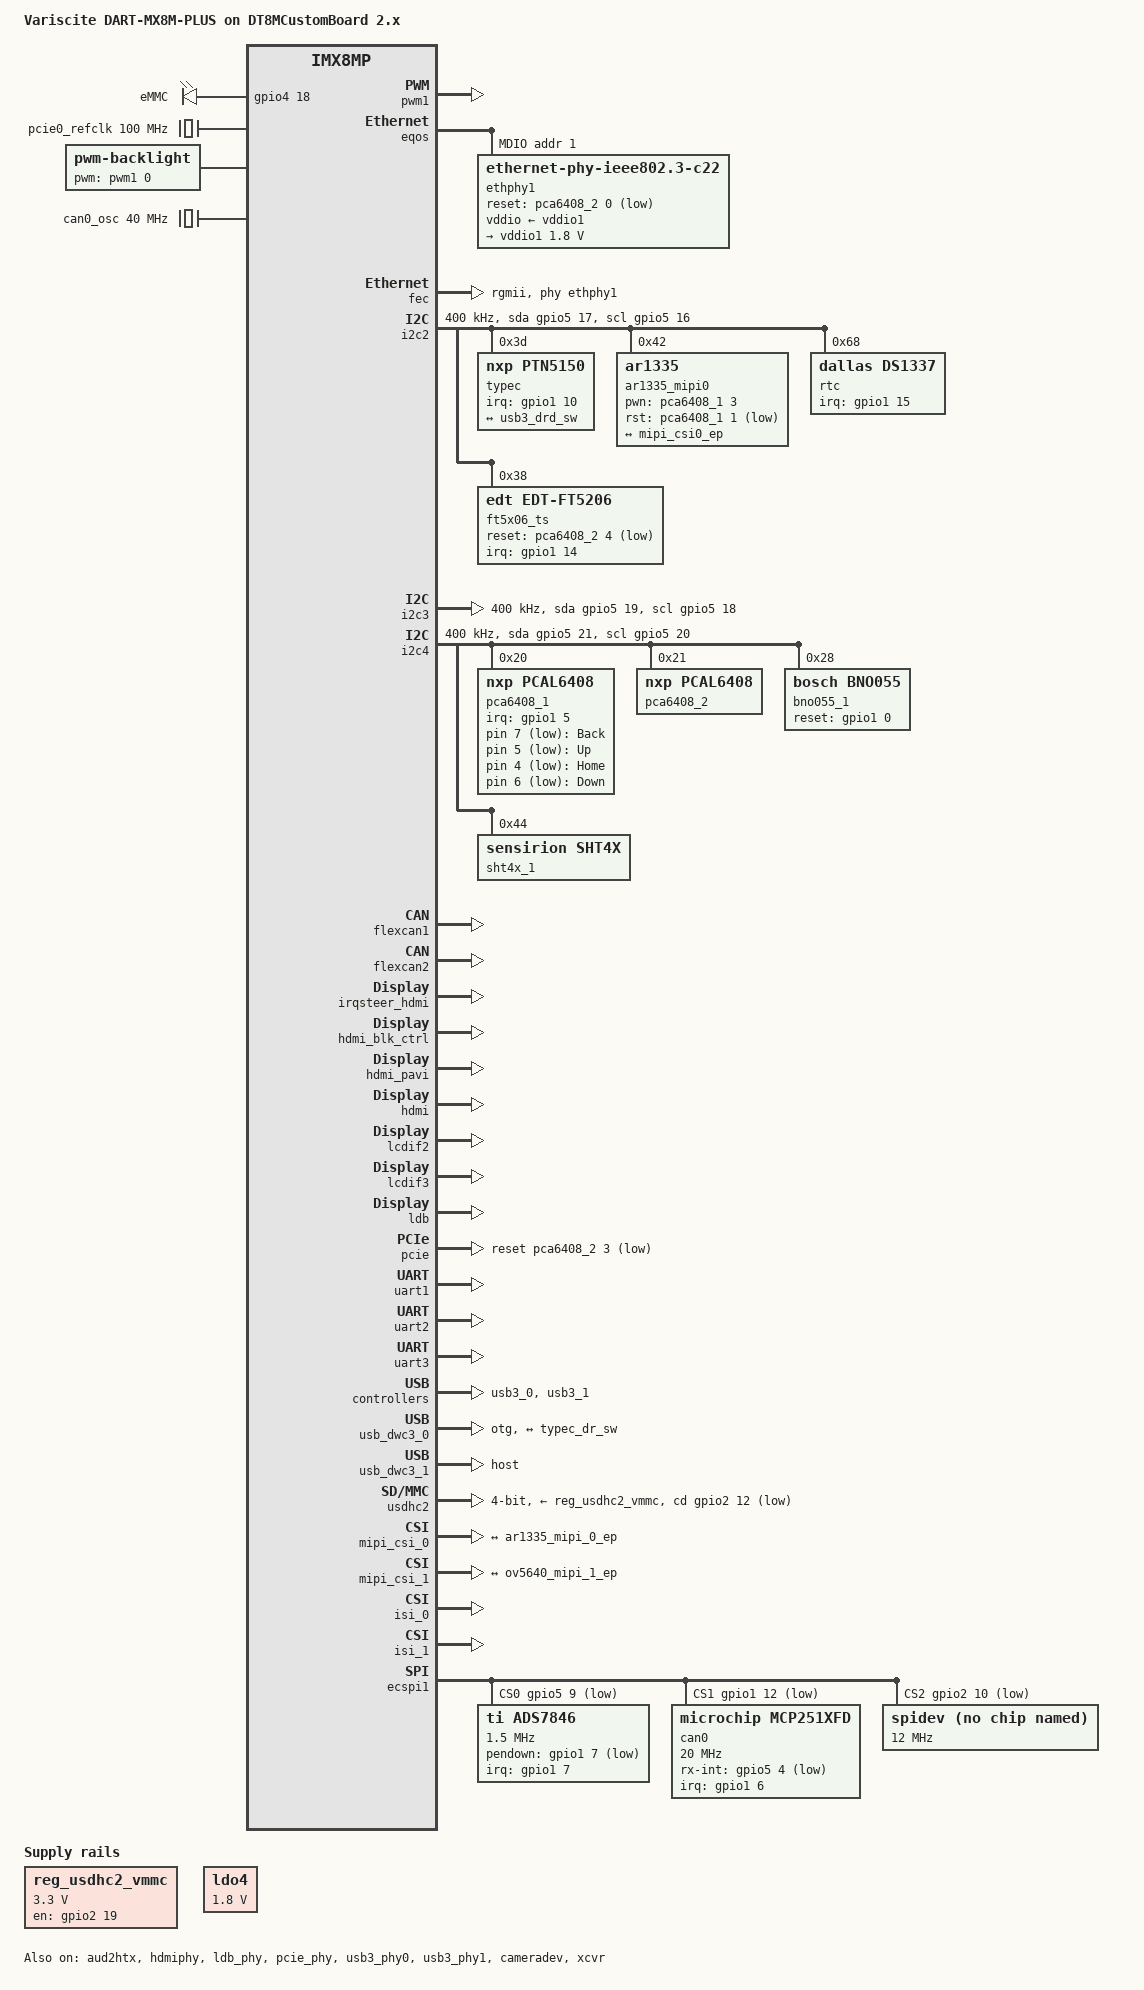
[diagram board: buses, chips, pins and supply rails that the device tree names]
// SPDX-License-Identifier: (GPL-2.0+ OR MIT)
/*
 * Copyright 2019 NXP
 * Copyright 2020-2023 Variscite Ltd.
 */

#include "imx8mp-var-dart.dtsi"

/ {
	model = "Variscite DART-MX8M-PLUS on DT8MCustomBoard 2.x";

	chosen {
		stdout-path = &uart1;
	};

	gpio-keys {
		compatible = "gpio-keys";
		status = "okay";

		back {
			label = "Back";
			linux,code = <KEY_BACK>;
			gpios = <&pca6408_1 7 GPIO_ACTIVE_LOW>;
			wakeup-source;
		};

		up {
			label = "Up";
			linux,code = <KEY_UP>;
			gpios = <&pca6408_1 5 GPIO_ACTIVE_LOW>;
			wakeup-source;
		};

		home {
			label = "Home";
			linux,code = <KEY_HOME>;
			gpios = <&pca6408_1 4 GPIO_ACTIVE_LOW>;
			wakeup-source;
		};

		down {
			label = "Down";
			linux,code = <KEY_DOWN>;
			gpios = <&pca6408_1 6 GPIO_ACTIVE_LOW>;
			wakeup-source;
		};
	};

	gpio-leds {
		compatible = "gpio-leds";
		pinctrl-names = "default";
		pinctrl-0 = <&pinctrl_gpio_leds>;
		status = "okay";

		emmc {
			label = "eMMC";
			gpios = <&gpio4 18 GPIO_ACTIVE_HIGH>;
			linux,default-trigger = "mmc2";
		};
	};

	pcie0_refclk: pcie0-refclk {
		compatible = "fixed-clock";
		#clock-cells = <0>;
		clock-frequency = <100000000>;
	};

	reg_usdhc2_vmmc: regulator-usdhc2-vmmc {
		compatible = "regulator-fixed";
		regulator-name = "VSD_3V3";
		regulator-min-microvolt = <3300000>;
		regulator-max-microvolt = <3300000>;
		gpio = <&gpio2 19 GPIO_ACTIVE_HIGH>;
		enable-active-high;
		startup-delay-us = <100>;
		off-on-delay-us = <12000>;
	};

	backlight: backlight {
		compatible = "pwm-backlight";
		pwms = <&pwm1 0 1000000 0>;
		status = "okay";

		brightness-levels = < 0  1  2  3  4  5  6  7  8  9
				     10 11 12 13 14 15 16 17 18 19
				     20 21 22 23 24 25 26 27 28 29
				     30 31 32 33 34 35 36 37 38 39
				     40 41 42 43 44 45 46 47 48 49
				     50 51 52 53 54 55 56 57 58 59
				     60 61 62 63 64 65 66 67 68 69
				     70 71 72 73 74 75 76 77 78 79
				     80 81 82 83 84 85 86 87 88 89
				     90 91 92 93 94 95 96 97 98 99
				    100>;
		default-brightness-level = <80>;
	};

	panel {
		compatible = "sgd,gktw70sdae4se", "panel-lvds";
		backlight = <&backlight>;
		width-mm = <153>;
		height-mm = <87>;
		label = "gktw70sdae4se";
		data-mapping = "jeida-24";
		status = "disabled";

		panel-timing {
			clock-frequency = <33000000>;
			hactive = <800>;
			vactive = <480>;
			hback-porch = <40>;
			hfront-porch = <40>;
			vback-porch = <29>;
			vfront-porch = <13>;
			hsync-len = <48>;
			vsync-len = <3>;
			hsync-active = <0>;
			vsync-active = <0>;
			de-active = <1>;
		};

		port {
			panel_in: endpoint {
				remote-endpoint = <&lvds_out>;
			};
		};
	};

	can0_osc: can0_osc {
		compatible = "fixed-clock";
		#clock-cells = <0>;
		clock-frequency = <40000000>;
	};

	sound_hdmi: sound_hdmi {
		compatible = "fsl,imx-audio-hdmi";
		model = "audio-hdmi";
		audio-cpu = <&aud2htx>;
		hdmi-out;
		constraint-rate = <44100>,
				<88200>,
				<176400>,
				<32000>,
				<48000>,
				<96000>,
				<192000>;
		status = "okay";
	};

	sound-xcvr {
		compatible = "fsl,imx-audio-card";
		model = "imx-audio-xcvr";
		pri-dai-link {
			link-name = "XCVR PCM";
			cpu {
				sound-dai = <&xcvr>;
			};
		};
	};
};

&aud2htx {
	status = "okay";
};

&pwm1 {
	pinctrl-names = "default";
	pinctrl-0 = <&pinctrl_pwm1>;
	status = "okay";
};

&eqos {
	mdio {
		ethphy1: ethernet-phy@1 {
			compatible = "ethernet-phy-ieee802.3-c22";
			reg = <1>;
			at803x,eee-disabled;
			eee-broken-1000t;
			reset-gpios = <&pca6408_2 0 GPIO_ACTIVE_LOW>;
			reset-assert-us = <10000>;
			reset-deassert-us = <20000>;
			vddio-supply = <&vddio1>;

			vddio1: vddio-regulator {
				regulator-min-microvolt = <1800000>;
				regulator-max-microvolt = <1800000>;
			};
		};
	};
};

&fec {
	pinctrl-names = "default";
	pinctrl-0 = <&pinctrl_fec>;
	phy-mode = "rgmii";
	phy-handle = <&ethphy1>;
	status = "okay";
};

&flexspi {
	pinctrl-names = "default";
	pinctrl-0 = <&pinctrl_flexspi0>;
	status = "disabled";
};

&i2c2 {
	clock-frequency = <400000>;
	pinctrl-names = "default", "gpio";
	pinctrl-0 = <&pinctrl_i2c2>;
	pinctrl-1 = <&pinctrl_i2c2_gpio>;
	scl-gpios = <&gpio5 16 GPIO_ACTIVE_HIGH>;
	sda-gpios = <&gpio5 17 GPIO_ACTIVE_HIGH>;
	status = "okay";

	typec@3d {
		compatible = "nxp,ptn5150";
		pinctrl-names = "default";
		pinctrl-0 = <&pinctrl_extcon>;
		reg = <0x3d>;
		interrupt-parent = <&gpio1>;
		interrupts = <10 IRQ_TYPE_LEVEL_HIGH>;
		irq-is-id-quirk;
		status ="okay";

		port {
			typec_dr_sw: endpoint {
				remote-endpoint = <&usb3_drd_sw>;
			};
		};
	};

	ar1335_mipi0: ar1335_mipi@42 {
		compatible = "ar1335";
		reg = <0x42>;
		clocks = <&clk IMX8MP_CLK_IPP_DO_CLKO2>;
		clock-names = "xclk";
/* Disabled CLKO2, since DART-MX8MP camera expansion board uses
 * its own oscillator. Enable CLK02 if your desing requres it
 */
#if 0
		assigned-clocks = <&clk IMX8MP_CLK_IPP_DO_CLKO2>;
		assigned-clock-parents = <&clk IMX8MP_CLK_24M>;
#endif
		assigned-clock-rates = <24000000>;
		csi_id = <0>;
		pwn-gpios = <&pca6408_1 3 GPIO_ACTIVE_HIGH>;
		rst-gpios = <&pca6408_1 1 GPIO_ACTIVE_LOW>;
		mclk = <24000000>;
		mclk_source = <0>;
		mipi_csi;
		status = "okay";

		port {
			ar1335_mipi_0_ep: endpoint {
				remote-endpoint = <&mipi_csi0_ep>;
				data-lanes = <1 2 3 4>;
				clock-lanes = <0>;
			};
		};
	};

	/* DS1337 RTC module */
	rtc@68 {
		compatible = "dallas,ds1337";
		reg = <0x68>;
		pinctrl-names = "default";
		pinctrl-0 = <&pinctrl_rtc>;
		interrupt-parent = <&gpio1>;
		interrupts = <15 IRQ_TYPE_EDGE_FALLING>;
		wakeup-source;
		status = "okay";
	};

	/* Capacitive touch controller */
	ft5x06_ts: ft5x06_ts@38 {
		compatible = "edt,edt-ft5206";
		reg = <0x38>;
		pinctrl-names = "default";
		pinctrl-0 = <&pinctrl_captouch>;
		reset-gpios = <&pca6408_2 4 GPIO_ACTIVE_LOW>;
		interrupt-parent = <&gpio1>;
		interrupts = <14 IRQ_TYPE_EDGE_FALLING>;
		touchscreen-size-x = <800>;
		touchscreen-size-y = <480>;
		touchscreen-inverted-x;
		touchscreen-inverted-y;
		wakeup-source;
		status = "okay";
	};
};

&i2c3 {
	clock-frequency = <400000>;
	pinctrl-names = "default", "gpio";
	pinctrl-0 = <&pinctrl_i2c3>;
	pinctrl-1 = <&pinctrl_i2c3_gpio>;
	scl-gpios = <&gpio5 18 GPIO_ACTIVE_HIGH>;
	sda-gpios = <&gpio5 19 GPIO_ACTIVE_HIGH>;
	status = "okay";
};

&i2c4 {
	clock-frequency = <400000>;
	pinctrl-names = "default", "gpio";
	pinctrl-0 = <&pinctrl_i2c4>;
	pinctrl-1 = <&pinctrl_i2c4_gpio>;
	scl-gpios = <&gpio5 20 GPIO_ACTIVE_HIGH>;
	sda-gpios = <&gpio5 21 GPIO_ACTIVE_HIGH>;
	status = "okay";

	ov5640_mipi1: ov5640_mipi@3c {
		compatible = "ovti,ov5640";
		reg = <0x3c>;
		clocks = <&clk IMX8MP_CLK_IPP_DO_CLKO2>;
		clock-names = "xclk";
/* Disabled CLKO2, since DART-MX8MP camera expansion board uses
 * its own oscillator. Enable CLK02 if your desing requres it
 */
#if 0
		assigned-clocks = <&clk IMX8MP_CLK_IPP_DO_CLKO2>;
		assigned-clock-parents = <&clk IMX8MP_CLK_24M>;
#endif
		assigned-clock-rates = <24000000>;
		csi_id = <1>;
		powerdown-gpios = <&pca6408_1 2 GPIO_ACTIVE_HIGH>;
		reset-gpios = <&pca6408_1 0 GPIO_ACTIVE_LOW>;
		mclk = <24000000>;
		mclk_source = <0>;
		mipi_csi;
		status = "disabled";

		port {
			ov5640_mipi_1_ep: endpoint {
				remote-endpoint = <&mipi_csi1_ep>;
				data-lanes = <1 2>;
				clock-lanes = <0>;
			};
		};
	};

	pca6408_1: gpio@20 {
		compatible = "nxp,pcal6408";
		standard-regs-fallback;
		reg = <0x20>;
		gpio-controller;
		#gpio-cells = <2>;
		pinctrl-names = "default";
		pinctrl-0 = <&pinctrl_pca6408>;
		interrupt-parent = <&gpio1>;
		interrupts = <5 IRQ_TYPE_EDGE_FALLING>;
	};

	pca6408_2: gpio@21 {
		compatible = "nxp,pcal6408";
		standard-regs-fallback;
		reg = <0x21>;
		gpio-controller;
		#gpio-cells = <2>;
	};

	bno055_1: bno055_i2c@28 {
        compatible = "bosch,bno055";
        reg = <0x28>;
		pinctrl-names = "default";
		pinctrl-0 = <&pinctrl_imu>;
		reset-gpios = <&gpio1 0 GPIO_ACTIVE_HIGH>;
    };
	
	sht4x_1: sht4x@44 {
		compatible = "sensirion,sht4x";
		reg = <0x44>;
	};
	
	mcp7941x_1: mcp7941x@6f {
		compatible = "microchip,mcp7941x";
		reg = <0x6f>;
		pinctrl-names = "default";
		pinctrl-0 = <&pinctrl_rtc>;
		interrupt-parent = <&gpio1>;
		interrupts = <15 IRQ_TYPE_EDGE_FALLING>;
		wakeup-source;
		status = "disabled";
	};

};

&flexcan1 {
	pinctrl-names = "default";
	pinctrl-0 = <&pinctrl_flexcan1>;
	status = "okay";
};

&flexcan2 {
	pinctrl-names = "default";
	pinctrl-0 = <&pinctrl_flexcan2>;
	status = "okay";
};

&irqsteer_hdmi {
	status = "okay";
};

&hdmi_blk_ctrl {
	status = "okay";
};

&hdmi_pavi {
	status = "okay";
};

&hdmi {
	status = "okay";
};

&hdmiphy {
	status = "okay";
};

/* MIPI-DSI */
&lcdif1 {
	status = "disabled";
};

/* LVDS */
&lcdif2 {
	status = "okay";
};

/* HDMI */
&lcdif3 {
	status = "okay";
	thres-low  = <1 2>;             /* (FIFO * 1 / 2) */
	thres-high = <3 4>;             /* (FIFO * 3 / 4) */
};

&ldb {
	status = "okay";

	lvds-channel@0 {
		fsl,data-mapping = "jeida";
		fsl,data-width = <24>;
		status = "okay";

		port@1 {
			reg = <1>;

			lvds_out: endpoint {
				remote-endpoint = <&panel_in>;
			};
		};
	};
};

&ldb_phy {
	status = "okay";
};

&mipi_dsi {
	status = "disabled";
};

&pcie {
	reset-gpio = <&pca6408_2 3 GPIO_ACTIVE_LOW>;
	ext_osc = <1>;
	clocks = <&clk IMX8MP_CLK_HSIO_ROOT>,
		 <&clk IMX8MP_CLK_PCIE_AUX>,
		 <&clk IMX8MP_CLK_HSIO_AXI>,
		 <&clk IMX8MP_CLK_PCIE_ROOT>;
	clock-names = "pcie", "pcie_aux", "pcie_phy", "pcie_bus";
	assigned-clocks = <&clk IMX8MP_CLK_HSIO_AXI>,
			  <&clk IMX8MP_CLK_PCIE_AUX>;
	assigned-clock-rates = <500000000>, <10000000>;
	assigned-clock-parents = <&clk IMX8MP_SYS_PLL2_500M>,
				 <&clk IMX8MP_SYS_PLL2_50M>;
	l1ss-disabled;
	status = "okay";
};

&pcie_ep {
	ext_osc = <1>;
	clocks = <&clk IMX8MP_CLK_HSIO_ROOT>,
		 <&clk IMX8MP_CLK_PCIE_AUX>,
		 <&clk IMX8MP_CLK_HSIO_AXI>,
		 <&clk IMX8MP_CLK_PCIE_ROOT>;
	clock-names = "pcie", "pcie_aux", "pcie_phy", "pcie_bus";
	assigned-clocks = <&clk IMX8MP_CLK_HSIO_AXI>,
			  <&clk IMX8MP_CLK_PCIE_AUX>;
	assigned-clock-rates = <500000000>, <10000000>;
	assigned-clock-parents = <&clk IMX8MP_SYS_PLL2_500M>,
				 <&clk IMX8MP_SYS_PLL2_50M>;
	status = "disabled";
};

&pcie_phy {
	fsl,refclk-pad-mode = <IMX8_PCIE_REFCLK_PAD_INPUT>;
	clocks = <&pcie0_refclk>;
	clock-names = "ref";
	status = "okay";
};

/* Console */
&uart1 {
	pinctrl-names = "default";
	pinctrl-0 = <&pinctrl_uart1>;
	status = "okay";
};

/* Header */
&uart2 {
	pinctrl-names = "default";
	pinctrl-0 = <&pinctrl_uart2>;
	status = "okay";
};

/* Header */
&uart3 {
	pinctrl-names = "default";
	pinctrl-0 = <&pinctrl_uart3>;
	status = "okay";
};

&usb3_phy0 {
	fsl,phy-tx-vref-tune = <0xe>;
	fsl,phy-tx-preemp-amp-tune = <3>;
	fsl,phy-tx-vboost-level = <5>;
	fsl,phy-comp-dis-tune = <7>;
	fsl,pcs-tx-deemph-3p5db = <0x21>;
	fsl,phy-pcs-tx-swing-full = <0x7f>;
	status = "okay";
};

&usb3_0 {
	status = "okay";
};

&usb_dwc3_0 {
	dr_mode = "otg";
	hnp-disable;
	srp-disable;
	adp-disable;
	usb-role-switch;
	role-switch-default-mode = "none";
	snps,dis-u1-entry-quirk;
	snps,dis-u2-entry-quirk;
	status = "okay";

	port {
		usb3_drd_sw: endpoint {
			remote-endpoint = <&typec_dr_sw>;
		};
	};
};

&usb3_phy1 {
	fsl,phy-tx-preemp-amp-tune = <3>;
	fsl,phy-tx-vref-tune = <0xb>;
	status = "okay";
};

&usb3_1 {
	status = "okay";
};

&usb_dwc3_1 {
	dr_mode = "host";
	status = "okay";
};

&usdhc2 {
	pinctrl-names = "default", "state_100mhz", "state_200mhz";
	pinctrl-0 = <&pinctrl_usdhc2>, <&pinctrl_usdhc2_gpio>;
	pinctrl-1 = <&pinctrl_usdhc2_100mhz>, <&pinctrl_usdhc2_gpio>;
	pinctrl-2 = <&pinctrl_usdhc2_200mhz>, <&pinctrl_usdhc2_gpio>;
	cd-gpios = <&gpio2 12 GPIO_ACTIVE_LOW>;
	vmmc-supply = <&reg_usdhc2_vmmc>;
	bus-width = <4>;
	status = "okay";
};

&mipi_csi_0 {
	#address-cells = <1>;
	#size-cells = <0>;
	status = "okay";

	port@0 {
		reg = <0>;
		mipi_csi0_ep: endpoint {
			remote-endpoint = <&ar1335_mipi_0_ep>;
			data-lanes = <2>;
			csis-hs-settle = <13>;
			csis-clk-settle = <2>;
			csis-wclk;
		};
	};
};

&mipi_csi_1 {
	#address-cells = <1>;
	#size-cells = <0>;
	status = "okay";

	port@1 {
		reg = <1>;
		mipi_csi1_ep: endpoint {
			remote-endpoint = <&ov5640_mipi_1_ep>;
			data-lanes = <2>;
			csis-hs-settle = <13>;
			csis-clk-settle = <2>;
			csis-wclk;
		};
	};
};

&cameradev {
	status = "okay";
};

&isi_0 {
	status = "okay";

	cap_device {
		status = "okay";
	};

	m2m_device {
		status = "okay";
	};
};

&isi_1 {
	status = "okay";

	cap_device {
		status = "okay";
	};
};

&ecspi1 {
	pinctrl-names = "default";
	pinctrl-0 = <&pinctrl_ecspi1>;
	cs-gpios = <&gpio5  9 GPIO_ACTIVE_LOW>,
		   <&gpio1 12 GPIO_ACTIVE_LOW>,
		   <&gpio2 10 GPIO_ACTIVE_LOW>;
	status = "okay";

	/* Resistive touch controller */
	ads7846@0 {
		compatible = "ti,ads7846";
		reg = <0>;
		pinctrl-names = "default";
		pinctrl-0 = <&pinctrl_restouch>;
		interrupt-parent = <&gpio1>;
		interrupts = <7 IRQ_TYPE_EDGE_FALLING>;
		spi-max-frequency = <1500000>;
		pendown-gpio = <&gpio1 7 GPIO_ACTIVE_LOW>;
		ti,x-min = /bits/ 16 <125>;
		ti,x-max = /bits/ 16 <4008>;
		ti,y-min = /bits/ 16 <282>;
		ti,y-max = /bits/ 16 <3864>;
		ti,x-plate-ohms = /bits/ 16 <180>;
		ti,pressure-max = /bits/ 16 <255>;
		ti,debounce-max = /bits/ 16 <10>;
		ti,debounce-tol = /bits/ 16 <3>;
		ti,debounce-rep = /bits/ 16 <1>;
		ti,settle-delay-usec = /bits/ 16 <150>;
		ti,keep-vref-on;
		wakeup-source;
		status = "okay";
	};

	can0: can@1 {
		compatible = "microchip,mcp251xfd";
		reg = <1>;
		pinctrl-names = "default";
		pinctrl-0 = <&pinctrl_can>;
		interrupt-parent = <&gpio1>;
		interrupts = <6 IRQ_TYPE_LEVEL_LOW>;
		microchip,rx-int-gpios = <&gpio5 4 GPIO_ACTIVE_LOW>;
		clocks = <&can0_osc>;
		spi-max-frequency = <20000000>;
		status = "okay";
	};

	spidev@2 {
		compatible = "var,spidev";
		reg = <2>;
		spi-max-frequency = <12000000>;
		status = "okay";
	};
};

&ldo4 {
	regulator-min-microvolt = <1800000>;
	regulator-max-microvolt = <1800000>;
};

&xcvr {
	#sound-dai-cells = <0>;
	status = "okay";
};

&iomuxc {
	pinctrl-names = "default";
	pinctrl-0 = <&pinctrl_hog>;

	pinctrl_hog: hoggrp {
		fsl,pins = <
			MX8MP_IOMUXC_HDMI_DDC_SCL__HDMIMIX_HDMI_SCL			0x400001c2
			MX8MP_IOMUXC_HDMI_DDC_SDA__HDMIMIX_HDMI_SDA			0x400001c2
			MX8MP_IOMUXC_HDMI_HPD__HDMIMIX_HDMI_HPD				0x40000010
			MX8MP_IOMUXC_HDMI_CEC__HDMIMIX_HDMI_CEC				0x40000010
		>;
	};

	pinctrl_pwm1: pwm1grp {
		fsl,pins = <
			MX8MP_IOMUXC_GPIO1_IO01__PWM1_OUT				0x116
		>;
	};

	pinctrl_fec: fecgrp {
		fsl,pins = <
			MX8MP_IOMUXC_SAI1_RXD4__ENET1_RGMII_RD0				0x90
			MX8MP_IOMUXC_SAI1_RXD5__ENET1_RGMII_RD1				0x90
			MX8MP_IOMUXC_SAI1_RXD6__ENET1_RGMII_RD2				0x90
			MX8MP_IOMUXC_SAI1_RXD7__ENET1_RGMII_RD3				0x90
			MX8MP_IOMUXC_SAI1_TXC__ENET1_RGMII_RXC				0x90
			MX8MP_IOMUXC_SAI1_TXFS__ENET1_RGMII_RX_CTL			0x90
			MX8MP_IOMUXC_SAI1_TXD0__ENET1_RGMII_TD0				0x00
			MX8MP_IOMUXC_SAI1_TXD1__ENET1_RGMII_TD1				0x00
			MX8MP_IOMUXC_SAI1_TXD2__ENET1_RGMII_TD2				0x00
			MX8MP_IOMUXC_SAI1_TXD3__ENET1_RGMII_TD3				0x00
			MX8MP_IOMUXC_SAI1_TXD4__ENET1_RGMII_TX_CTL			0x00
			MX8MP_IOMUXC_SAI1_TXD5__ENET1_RGMII_TXC				0x00
		>;
	};

	pinctrl_flexspi0: flexspi0grp {
		fsl,pins = <
			MX8MP_IOMUXC_NAND_ALE__FLEXSPI_A_SCLK				0x1c2
			MX8MP_IOMUXC_NAND_CE0_B__FLEXSPI_A_SS0_B			0x82
			MX8MP_IOMUXC_NAND_DATA00__FLEXSPI_A_DATA00			0x82
			MX8MP_IOMUXC_NAND_DATA01__FLEXSPI_A_DATA01			0x82
			MX8MP_IOMUXC_NAND_DATA02__FLEXSPI_A_DATA02			0x82
			MX8MP_IOMUXC_NAND_DATA03__FLEXSPI_A_DATA03			0x82
		>;
	};

	pinctrl_i2c2: i2c2grp {
		fsl,pins = <
			MX8MP_IOMUXC_I2C2_SCL__I2C2_SCL					0x400001c2
			MX8MP_IOMUXC_I2C2_SDA__I2C2_SDA					0x400001c2
		>;
	};

	pinctrl_i2c3: i2c3grp {
		fsl,pins = <
			MX8MP_IOMUXC_I2C3_SCL__I2C3_SCL					0x400001c2
			MX8MP_IOMUXC_I2C3_SDA__I2C3_SDA					0x400001c2
		>;
	};

	pinctrl_i2c4: i2c4grp {
		fsl,pins = <
			MX8MP_IOMUXC_I2C4_SCL__I2C4_SCL					0x400001c2
			MX8MP_IOMUXC_I2C4_SDA__I2C4_SDA					0x400001c2
		>;
	};

	pinctrl_i2c2_gpio: i2c2gpiogrp {
		fsl,pins = <
			MX8MP_IOMUXC_I2C2_SCL__GPIO5_IO16				0x1c2
			MX8MP_IOMUXC_I2C2_SDA__GPIO5_IO17				0x1c2
		>;
	};

	pinctrl_i2c3_gpio: i2c3gpiogrp {
		fsl,pins = <
			MX8MP_IOMUXC_I2C3_SCL__GPIO5_IO18				0x1c2
			MX8MP_IOMUXC_I2C3_SDA__GPIO5_IO19				0x1c2
		>;
	};

	pinctrl_i2c4_gpio: i2c4gpiogrp {
		fsl,pins = <
			MX8MP_IOMUXC_I2C4_SCL__GPIO5_IO20				0x1c2
			MX8MP_IOMUXC_I2C4_SDA__GPIO5_IO21				0x1c2
		>;
	};

	pinctrl_uart1: uart1grp {
		fsl,pins = <
			MX8MP_IOMUXC_UART1_RXD__UART1_DCE_RX				0x40
			MX8MP_IOMUXC_UART1_TXD__UART1_DCE_TX				0x40
		>;
	};

	pinctrl_uart2: uart2grp {
		fsl,pins = <
			MX8MP_IOMUXC_UART2_RXD__UART2_DCE_RX				0x40
			MX8MP_IOMUXC_UART2_TXD__UART2_DCE_TX				0x40
		>;
	};

	pinctrl_uart3: uart3grp {
		fsl,pins = <
			MX8MP_IOMUXC_UART3_RXD__UART3_DCE_RX				0x40
			MX8MP_IOMUXC_UART3_TXD__UART3_DCE_TX				0x40
		>;
	};

	pinctrl_usdhc2_gpio: usdhc2grp-gpio {
		fsl,pins = <
			MX8MP_IOMUXC_SD2_CD_B__GPIO2_IO12 				0x1c4
			MX8MP_IOMUXC_SD2_RESET_B__GPIO2_IO19				0x40
		>;
	};

	pinctrl_usdhc2: usdhc2grp {
		fsl,pins = <
			MX8MP_IOMUXC_SD2_CLK__USDHC2_CLK				0x190
			MX8MP_IOMUXC_SD2_CMD__USDHC2_CMD				0x1d0
			MX8MP_IOMUXC_SD2_DATA0__USDHC2_DATA0				0x1d0
			MX8MP_IOMUXC_SD2_DATA1__USDHC2_DATA1				0x1d0
			MX8MP_IOMUXC_SD2_DATA2__USDHC2_DATA2				0x1d0
			MX8MP_IOMUXC_SD2_DATA3__USDHC2_DATA3				0x1d0
			MX8MP_IOMUXC_GPIO1_IO04__USDHC2_VSELECT				0xc0
		>;
	};

	pinctrl_usdhc2_100mhz: usdhc2grp-100mhz {
		fsl,pins = <
			MX8MP_IOMUXC_SD2_CLK__USDHC2_CLK				0x194
			MX8MP_IOMUXC_SD2_CMD__USDHC2_CMD				0x1d4
			MX8MP_IOMUXC_SD2_DATA0__USDHC2_DATA0				0x1d4
			MX8MP_IOMUXC_SD2_DATA1__USDHC2_DATA1				0x1d4
			MX8MP_IOMUXC_SD2_DATA2__USDHC2_DATA2				0x1d4
			MX8MP_IOMUXC_SD2_DATA3__USDHC2_DATA3				0x1d4
			MX8MP_IOMUXC_GPIO1_IO04__USDHC2_VSELECT 			0xc0
		>;
	};

	pinctrl_usdhc2_200mhz: usdhc2grp-200mhz {
		fsl,pins = <
			MX8MP_IOMUXC_SD2_CLK__USDHC2_CLK				0x196
			MX8MP_IOMUXC_SD2_CMD__USDHC2_CMD				0x1d6
			MX8MP_IOMUXC_SD2_DATA0__USDHC2_DATA0				0x1d6
			MX8MP_IOMUXC_SD2_DATA1__USDHC2_DATA1				0x1d6
			MX8MP_IOMUXC_SD2_DATA2__USDHC2_DATA2				0x1d6
			MX8MP_IOMUXC_SD2_DATA3__USDHC2_DATA3				0x1d6
			MX8MP_IOMUXC_GPIO1_IO04__USDHC2_VSELECT 			0xc0
		>;
	};

	pinctrl_ecspi1: ecspi1grp {
		fsl,pins = <
			MX8MP_IOMUXC_ECSPI1_SCLK__ECSPI1_SCLK				0x12
			MX8MP_IOMUXC_ECSPI1_MOSI__ECSPI1_MOSI				0x12
			MX8MP_IOMUXC_ECSPI1_MISO__ECSPI1_MISO				0x12
			MX8MP_IOMUXC_ECSPI1_SS0__GPIO5_IO09				0x12
			MX8MP_IOMUXC_GPIO1_IO12__GPIO1_IO12				0x12
			MX8MP_IOMUXC_SD1_RESET_B__GPIO2_IO10				0x12
		>;
	};

	pinctrl_captouch: captouchgrp {
		fsl,pins = <
			MX8MP_IOMUXC_GPIO1_IO14__GPIO1_IO14				0x16
		>;
	};


	pinctrl_restouch: restouchgrp {
		fsl,pins = <
			MX8MP_IOMUXC_GPIO1_IO07__GPIO1_IO07				0xc0
		>;
	};

	pinctrl_extcon: extcongrp {
		fsl,pins = <
			MX8MP_IOMUXC_GPIO1_IO10__GPIO1_IO10				0x10
		>;
	};

	pinctrl_flexcan1: flexcan1grp {
		fsl,pins = <
			MX8MP_IOMUXC_SAI2_RXC__CAN1_TX					0x154
			MX8MP_IOMUXC_SAI2_TXC__CAN1_RX					0x154
		>;
	};

	pinctrl_flexcan2: flexcan2grp {
		fsl,pins = <
			MX8MP_IOMUXC_SAI2_MCLK__CAN2_RX					0x154
			MX8MP_IOMUXC_SAI2_TXD0__CAN2_TX					0x154
		>;
	};

	pinctrl_can: cangrp {
		fsl,pins = <
			MX8MP_IOMUXC_GPIO1_IO06__GPIO1_IO06				0x1c6
			MX8MP_IOMUXC_SPDIF_RX__GPIO5_IO04				0x16
		>;
	};

	pinctrl_pca6408: pca6408grp {
		fsl,pins = <
			MX8MP_IOMUXC_GPIO1_IO05__GPIO1_IO05				0x1c6
		>;
	};

	pinctrl_gpio_leds: ledgrp {
		fsl,pins = <
			MX8MP_IOMUXC_SAI1_TXD6__GPIO4_IO18				0xc6
		>;
	};

	pinctrl_rtc: rtcgrp {
		fsl,pins = <
			MX8MP_IOMUXC_GPIO1_IO15__GPIO1_IO15 				0x1c0
		>;
	};
	
	pinctrl_imu: imugrp {
		fsl,pins = <
			MX8MP_IOMUXC_GPIO1_IO00__GPIO1_IO00 				0xc6
		>;
	};
};

&gpio1 {
	gpio-line-names =
		"GPIO1_IO00",
		"GPIO1_IO01",
		"GPIO1_IO02",
		"GPIO1_IO03",
		"GPIO1_IO04",
		"GPIO1_IO05",
		"GPIO1_IO06",
		"GPIO1_IO07",
		"GPIO1_IO08",
		"GPIO1_IO09",
		"GPIO1_IO10",
		"GPIO1_IO11",
		"GPIO1_IO12",
		"GPIO1_IO13",
		"GPIO1_IO14",
		"GPIO1_IO15",
		"GPIO1_IO16",
		"GPIO1_IO17",
		"GPIO1_IO18",
		"GPIO1_IO19",
		"GPIO1_IO20",
		"GPIO1_IO21",
		"GPIO1_IO22",
		"GPIO1_IO23",
		"GPIO1_IO24",
		"GPIO1_IO25",
		"GPIO1_IO26",
		"GPIO1_IO27",
		"GPIO1_IO28",
		"GPIO1_IO29",
		"GPIO1_IO30",
		"GPIO1_IO31";
};

&gpio2 {
	gpio-line-names =
		"GPIO2_IO00",
		"GPIO2_IO01",
		"GPIO2_IO02",
		"GPIO2_IO03",
		"GPIO2_IO04",
		"GPIO2_IO05",
		"GPIO2_IO06",
		"GPIO2_IO07",
		"GPIO2_IO08",
		"GPIO2_IO09",
		"GPIO2_IO10",
		"GPIO2_IO11",
		"GPIO2_IO12",
		"GPIO2_IO13",
		"GPIO2_IO14",
		"GPIO2_IO15",
		"GPIO2_IO16",
		"GPIO2_IO17",
		"GPIO2_IO18",
		"GPIO2_IO19",
		"GPIO2_IO20",
		"GPIO2_IO21",
		"GPIO2_IO22",
		"GPIO2_IO23",
		"GPIO2_IO24",
		"GPIO2_IO25",
		"GPIO2_IO26",
		"GPIO2_IO27",
		"GPIO2_IO28",
		"GPIO2_IO29",
		"GPIO2_IO30",
		"GPIO2_IO31";
};

&gpio3 {
	gpio-line-names =
		"GPIO3_IO00",
		"GPIO3_IO01",
		"GPIO3_IO02",
		"GPIO3_IO03",
		"GPIO3_IO04",
		"GPIO3_IO05",
		"GPIO3_IO06",
		"GPIO3_IO07",
		"GPIO3_IO08",
		"GPIO3_IO09",
		"GPIO3_IO10",
		"GPIO3_IO11",
		"GPIO3_IO12",
		"GPIO3_IO13",
		"GPIO3_IO14",
		"GPIO3_IO15",
		"GPIO3_IO16",
		"GPIO3_IO17",
		"GPIO3_IO18",
		"GPIO3_IO19",
		"GPIO3_IO20",
		"GPIO3_IO21",
		"GPIO3_IO22",
		"GPIO3_IO23",
		"GPIO3_IO24",
		"GPIO3_IO25",
		"GPIO3_IO26",
		"GPIO3_IO27",
		"GPIO3_IO28",
		"GPIO3_IO29",
		"GPIO3_IO30",
		"GPIO3_IO31";
};

&gpio4 {
	gpio-line-names =
		"GPIO4_IO00",
		"GPIO4_IO01",
		"GPIO4_IO02",
		"GPIO4_IO03",
		"GPIO4_IO04",
		"GPIO4_IO05",
		"GPIO4_IO06",
		"GPIO4_IO07",
		"GPIO4_IO08",
		"GPIO4_IO09",
		"GPIO4_IO10",
		"GPIO4_IO11",
		"GPIO4_IO12",
		"GPIO4_IO13",
		"GPIO4_IO14",
		"GPIO4_IO15",
		"GPIO4_IO16",
		"GPIO4_IO17",
		"GPIO4_IO18",
		"GPIO4_IO19",
		"GPIO4_IO20",
		"GPIO4_IO21",
		"GPIO4_IO22",
		"GPIO4_IO23",
		"GPIO4_IO24",
		"GPIO4_IO25",
		"GPIO4_IO26",
		"GPIO4_IO27",
		"GPIO4_IO28",
		"GPIO4_IO29",
		"GPIO4_IO30",
		"GPIO4_IO31";
};

&gpio5 {
	gpio-line-names =
		"GPIO5_IO00",
		"GPIO5_IO01",
		"GPIO5_IO02",
		"GPIO5_IO03",
		"GPIO5_IO04",
		"GPIO5_IO05",
		"GPIO5_IO06",
		"GPIO5_IO07",
		"GPIO5_IO08",
		"GPIO5_IO09",
		"GPIO5_IO10",
		"GPIO5_IO11",
		"GPIO5_IO12",
		"GPIO5_IO13",
		"GPIO5_IO14",
		"GPIO5_IO15",
		"GPIO5_IO16",
		"GPIO5_IO17",
		"GPIO5_IO18",
		"GPIO5_IO19",
		"GPIO5_IO20",
		"GPIO5_IO21",
		"GPIO5_IO22",
		"GPIO5_IO23",
		"GPIO5_IO24",
		"GPIO5_IO25",
		"GPIO5_IO26",
		"GPIO5_IO27",
		"GPIO5_IO28",
		"GPIO5_IO29",
		"GPIO5_IO30",
		"GPIO5_IO31";
};

